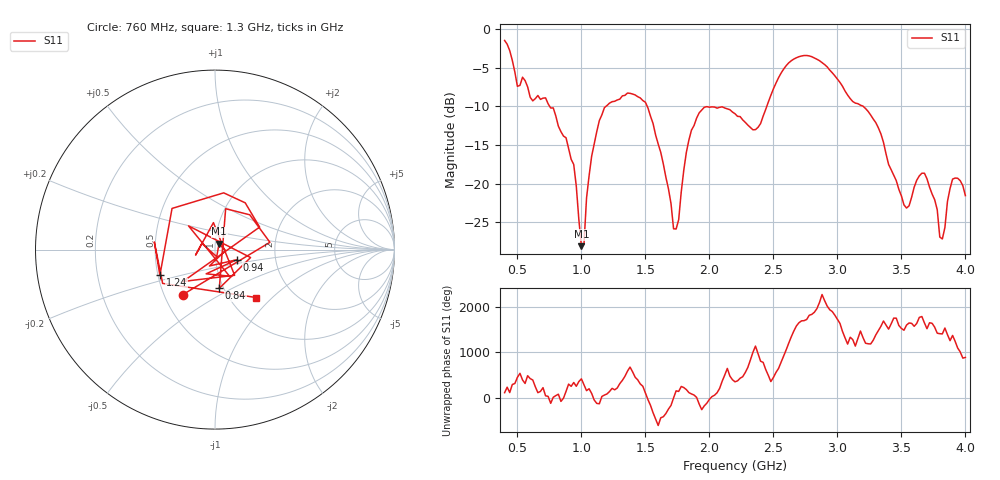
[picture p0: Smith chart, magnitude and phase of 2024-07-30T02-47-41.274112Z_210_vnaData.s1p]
!Created with skrf (http://scikit-rf.org).
# Hz S RI R 50.0
!freq ReS11 ImS11
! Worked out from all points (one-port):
!   181 points, 400 MHz to 4 GHz, reference 50 ohm
!   lowest |S11| = -28.1 dB at 1 GHz (marker M1), VSWR 1.08, Z = 52.2 + j3.39 ohm
!   |S11| at or under -10 dB: 751.7 MHz to 1.193 GHz (440.8 MHz wide, 45.3 % of centre); 1.514 GHz to 2.449 GHz (934.5 MHz wide, 47.2 % of centre); 3.201 GHz to end of sweep
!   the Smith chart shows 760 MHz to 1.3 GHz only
!   S11 on the Smith chart (normalised r, x): 760 MHz: 0.62, -0.35; 840 MHz: 0.95, -0.43; 940 MHz: 1.26, -0.15; 1.24 GHz: 0.51, -0.17; 1.3 GHz: 1.32, -0.80
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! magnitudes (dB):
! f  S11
! 400 MHz  -1.5
! 500 MHz  -7.4
! 760 MHz  -10.2
! 840 MHz  -13.3
! 860 MHz  -13.8
! 940 MHz  -17.5
! 1 GHz  -28.1
! 1.02 GHz  -27.8
! 1.04 GHz  -21.9
! 1.12 GHz  -13.3
! 1.24 GHz  -9.4
! 1.3 GHz  -9.1
! 1.5 GHz  -9.5
! 1.62 GHz  -16.0
! 1.72 GHz  -25.8
! 1.76 GHz  -24.6
! 1.82 GHz  -15.9
! 1.92 GHz  -10.8
! 2.2 GHz  -11.0
! 2.38 GHz  -12.7
! 2.66 GHz  -3.9
! 3.1 GHz  -9.0
! 3.3 GHz  -12.1
! 3.56 GHz  -22.9
! 3.68 GHz  -18.6
! 3.82 GHz  -27.1
! 3.9 GHz  -19.4
! 4 GHz  -21.5
